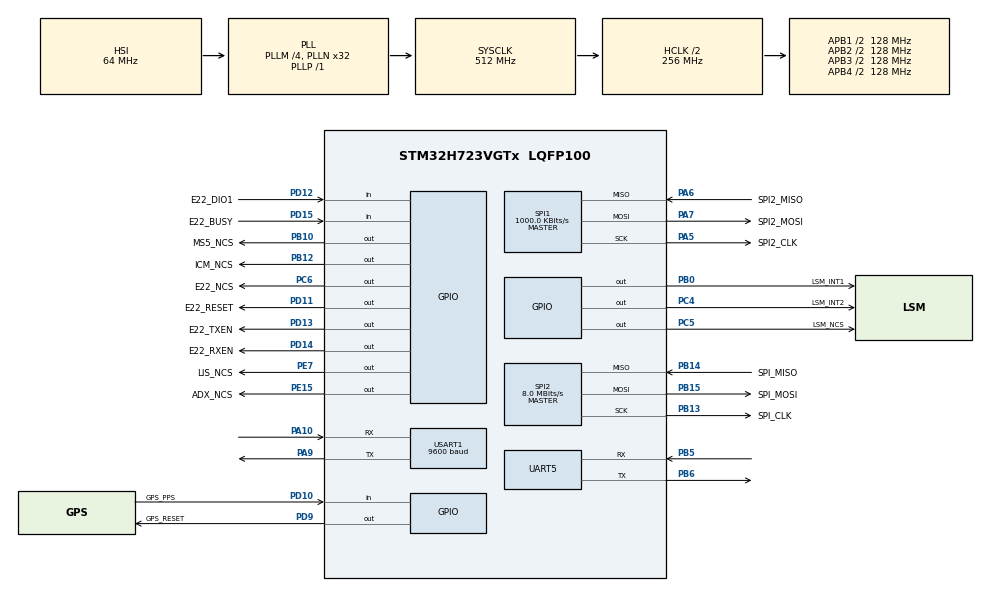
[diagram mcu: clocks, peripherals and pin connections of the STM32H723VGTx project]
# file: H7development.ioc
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CORTEX_M7.default_mode_Activation=1
Mcu.Family=STM32H7
Mcu.Name=STM32H723VGTx
Mcu.Package=LQFP100
NVIC.PriorityGroup=NVIC_PRIORITYGROUP_4
NVIC.TIM2_IRQn=true\:0\:0\:false\:false\:true\:true\:true\:true
NVIC.TIM3_IRQn=true\:0\:0\:false\:false\:true\:true\:true\:true
NVIC.USART1_IRQn=true\:0\:0\:false\:false\:true\:true\:true\:true
PA10.Mode=Asynchronous
PA10.Signal=USART1_RX
PA13(JTMS/SWDIO).Mode=Serial_Wire
PA13(JTMS/SWDIO).Signal=DEBUG_JTMS-SWDIO
PA14(JTCK/SWCLK).Mode=Serial_Wire
PA14(JTCK/SWCLK).Signal=DEBUG_JTCK-SWCLK
PA5.GPIO_Label=SPI2_CLK
PA5.GPIO_PuPd=GPIO_PULLDOWN
PA5.GPIO_Speed=GPIO_SPEED_FREQ_HIGH
PA5.Mode=Full_Duplex_Master
PA5.Signal=SPI1_SCK
PA6.GPIO_Label=SPI2_MISO
PA6.GPIO_Speed=GPIO_SPEED_FREQ_HIGH
PA6.Mode=Full_Duplex_Master
PA6.Signal=SPI1_MISO
PA7.GPIO_Label=SPI2_MOSI
PA7.GPIO_Speed=GPIO_SPEED_FREQ_HIGH
PA7.Mode=Full_Duplex_Master
PA7.Signal=SPI1_MOSI
PA9.Mode=Asynchronous
PA9.Signal=USART1_TX
PB0.GPIO_Label=LSM_INT1
PB0.Signal=GPIO_Output
PB10.GPIO_Label=MS5_NCS
PB10.GPIO_Speed=GPIO_SPEED_FREQ_HIGH
PB10.PinState=GPIO_PIN_SET
PB10.Signal=GPIO_Output
PB12.GPIO_Label=ICM_NCS
PB12.GPIO_Speed=GPIO_SPEED_FREQ_HIGH
PB12.PinState=GPIO_PIN_SET
PB12.Signal=GPIO_Output
PB13.GPIO_Label=SPI_CLK
PB13.GPIO_PuPd=GPIO_PULLDOWN
PB13.GPIO_Speed=GPIO_SPEED_FREQ_HIGH
PB13.Mode=Full_Duplex_Master
PB13.Signal=SPI2_SCK
PB14.GPIO_Label=SPI_MISO
PB14.GPIO_Speed=GPIO_SPEED_FREQ_HIGH
PB14.Mode=Full_Duplex_Master
PB14.Signal=SPI2_MISO
PB15.GPIO_Label=SPI_MOSI
PB15.GPIO_Speed=GPIO_SPEED_FREQ_HIGH
PB15.Mode=Full_Duplex_Master
PB15.Signal=SPI2_MOSI
PB5.Mode=Asynchronous
PB5.Signal=UART5_RX
PB6.Mode=Asynchronous
PB6.Signal=UART5_TX
PC4.GPIO_Label=LSM_INT2
PC4.Signal=GPIO_Output
PC5.GPIO_Label=LSM_NCS
PC5.GPIO_Speed=GPIO_SPEED_FREQ_HIGH
PC5.PinState=GPIO_PIN_SET
PC5.Signal=GPIO_Output
PC6.GPIO_Label=E22_NCS
PC6.GPIO_Speed=GPIO_SPEED_FREQ_HIGH
PC6.PinState=GPIO_PIN_SET
PC6.Signal=GPIO_Output
PD10.GPIO_Label=GPS_PPS
PD10.Signal=GPIO_Input
PD11.GPIO_Label=E22_RESET
PD11.GPIO_Speed=GPIO_SPEED_FREQ_LOW
PD11.PinState=GPIO_PIN_SET
PD11.Signal=GPIO_Output
PD12.GPIO_Label=E22_DIO1
PD12.Signal=GPIO_Input
PD13.GPIO_Label=E22_TXEN
PD13.GPIO_Speed=GPIO_SPEED_FREQ_HIGH
PD13.Signal=GPIO_Output
PD14.GPIO_Label=E22_RXEN
PD14.GPIO_Speed=GPIO_SPEED_FREQ_HIGH
PD14.Signal=GPIO_Output
PD15.GPIO_Label=E22_BUSY
PD15.Signal=GPIO_Input
PD9.GPIO_Label=GPS_RESET
PD9.PinState=GPIO_PIN_SET
PD9.Signal=GPIO_Output
PE15.GPIO_Label=ADX_NCS
PE15.GPIO_Speed=GPIO_SPEED_FREQ_HIGH
PE15.PinState=GPIO_PIN_SET
PE15.Signal=GPIO_Output
PE7.GPIO_Label=LIS_NCS
PE7.GPIO_Speed=GPIO_SPEED_FREQ_HIGH
PE7.PinState=GPIO_PIN_SET
PE7.Signal=GPIO_Output
ProjectManager.HeapSize=0x200
ProjectManager.StackSize=0x400
ProjectManager.TargetToolchain=CMake
RCC.ADCFreq_Value=128000000
RCC.APB1Freq_Value=128000000
RCC.APB2Freq_Value=128000000
RCC.APB3Freq_Value=128000000
RCC.APB4Freq_Value=128000000
RCC.CortexFreq_Value=512000000
RCC.D1PPRE=RCC_APB3_DIV2
RCC.D2PPRE1=RCC_APB1_DIV2
RCC.D2PPRE2=RCC_APB2_DIV2
RCC.D3PPRE=RCC_APB4_DIV2
RCC.DIVM1=4
RCC.DIVN1=32
RCC.DIVN2=128
RCC.DIVN3=128
RCC.DIVP1=1
RCC.DIVQ1=4
RCC.HCLKFreq_Value=256000000
RCC.HPRE=RCC_HCLK_DIV2
RCC.PLLFRACN=0
RCC.SYSCLKFreq_VALUE=512000000
RCC.SYSCLKSource=RCC_SYSCLKSOURCE_PLLCLK
RCC.USBFreq_Value=128000000
SPI1.BaudRatePrescaler=SPI_BAUDRATEPRESCALER_128
SPI1.CalculateBaudRate=1000.0 KBits/s
SPI1.DataSize=SPI_DATASIZE_8BIT
SPI1.Direction=SPI_DIRECTION_2LINES
SPI1.Mode=SPI_MODE_MASTER
SPI1.NSSPMode=SPI_NSS_PULSE_ENABLE
SPI1.VirtualType=VM_MASTER
SPI2.BaudRatePrescaler=SPI_BAUDRATEPRESCALER_16
SPI2.CLKPhase=SPI_PHASE_1EDGE
SPI2.CLKPolarity=SPI_POLARITY_LOW
SPI2.CalculateBaudRate=8.0 MBits/s
SPI2.DataSize=SPI_DATASIZE_8BIT
SPI2.Direction=SPI_DIRECTION_2LINES
SPI2.Mode=SPI_MODE_MASTER
SPI2.VirtualType=VM_MASTER
TIM2.Period=100000-1
TIM2.Prescaler=20-1
TIM3.Period=80-1
TIM3.Prescaler=2500-1
USART1.BaudRate=9600
USART1.VirtualMode-Asynchronous=VM_ASYNC
VP_MEMORYMAP_VS_MEMORYMAP.Mode=CurAppReg
VP_TIM2_VS_ClockSourceINT.Mode=Internal
VP_TIM3_VS_ClockSourceINT.Mode=Internal
board=custom

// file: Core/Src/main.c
/* USER CODE BEGIN Header */
/**
  ******************************************************************************
  * @file           : main.c
  * @brief          : Main program body
  ******************************************************************************
  * @attention
  *
  * Copyright (c) 2025 STMicroelectronics.
  * All rights reserved.
  *
  * This software is licensed under terms that can be found in the LICENSE file
  * in the root directory of this software component.
  * If no LICENSE file comes with this software, it is provided AS-IS.
  *
  ******************************************************************************
  */
/* USER CODE END Header */
#include "main.h"
#include "spi.h"
#include "tim.h"
#include "usart.h"
#include "gpio.h"

/* USER CODE BEGIN Includes */
#include <stdio.h>
#include <stdint.h>
#include <string.h>

#include "lsm6dsv16x_reg.h"   // LSM6DSV16X driver header file
#include "MadgwickAHRS.h"     // Madgwick AHRS algorithm header file
#include "MS5607SPI.h"        // MS5607 pressure sensor driver header file
#include "sx1262.h"           // SX1262 LoRa driver header file
#include "sx1262_hal.h"       // SX1262 hardware abstraction header file
#include "telemetry.h"        // telemetry packet definitions
#include "GPS.h"              // GPS parsing and circular buffer header file

/* USER CODE END Includes */

/* USER CODE BEGIN PD */
#define DEG2RAD 0.017453292519943295f // Pi / 180
#define RAD2DEG 57.29577951308232f    // 180 / Pi

/* ====== EDIT IF NEEDED ====== */
#define SPI_HANDLE   hspi2                 // SPI instance wired to IMU
#define CS_PORT      LSM_NCS_GPIO_Port     // IMU chip-select port
#define CS_PIN       LSM_NCS_Pin           // IMU chip-select pin
/* ============================ */
#define REG_WHO_AM_I 0x0F
#define SPI_READ_BIT 0x80
/* USER CODE END PD */

/* USER CODE BEGIN PV */
volatile uint8_t fusion_tick = 0;

// === Madgwick globals exposed by the library ===
extern volatile float q0, q1, q2, q3;      // quaternion (from Madgwick)
extern volatile float sampleFreq;          // Madgwick internal sample rate
static float gyro_bias_dps[3] = {0};       // boot-time gyro bias estimate

// === IMU variables ===
int16_t accel_raw[3] = {0}, gyro_raw[3] = {0};    // There are 3 axes of data for both the accelerometer and gyroscope, each a 16 bit value
float accel_g[3] = {0}, gyro_dps[3] = {0};
stmdev_ctx_t lsm6dsv16x_ctx;      // Making an instance of the ctx_t struct to use in accessing the lsm6dsv16x
lsm6dsv16x_data_ready_t drdy;     // data-ready flags to see if new data is available

// === Telemetry variables ===
static rocket_telemetry_t telem = {0};   // creating an instance of the telemetry payload
static uint16_t telem_pkt_id = 0;       // Rolling counter

// === GPS variables ===
static GPS_RMC_t last_gps_fix = {0};   // storage for the most recent GPS fix, to be included in telemetry
static GPS_RMC_t new_fix = {0};         // temporary storage for a newly popped GPS fix, to check if it's new before updating last_gps_fix
static GPS_status_t gps_status = {0};   // live acquisition status: fix type, satellites in use, satellites in view

// === Debug display variables ===
// Declared at file scope (static storage, .bss) so they are not re-allocated
// on the stack every loop iteration.  All are recomputed from telem /
// last_gps_fix each iteration and used only in the UART printf block.
//
// IMU — integer engineering units (no floating-point printf required):
//   Accel: raw * 1000 / 2048  → milliG        (print as X.XXX g)
//   Gyro:  raw * 10   / 164   → tenths of dps  (print as X.X dps)
static int32_t  ax_mg,   ay_mg,   az_mg;          // accel in milli-g
static int32_t  gx_tdps, gy_tdps, gz_tdps;        // gyro in tenths-dps
// Baro
static int16_t  temp_cdeg;    // temperature in centi-degrees (copy of telem field)
static int16_t  temp_int;     // integer part of temperature in degrees
static uint16_t temp_frac;    // fractional part (always positive, 2 digits)
// GPS — sign/magnitude split for %lu.%07lu printing without %f
static int32_t  lat_raw, lon_raw;       // absolute value copies for digit extraction
static char     lat_hem, lon_hem;       // hemisphere characters ('N'/'S', 'E'/'W')
static uint32_t gps_t, gps_d;           // utc_time and utc_date copies for unpacking
static uint32_t spd_int, spd_frac;      // speed in m/s split at decimal point
static uint32_t hdg_int, hdg_frac;      // heading in degrees split at decimal point
// GPS altitude and accuracy (integer split to avoid %f)
static int32_t  alt_int;                // altitude integer part in metres (signed)
static uint32_t alt_frac;               // altitude fractional part (2 digits, always positive)
static uint32_t hdop_int, hdop_frac;    // HDOP split at decimal (e.g. 1 and 20 for HDOP 1.20)
// GPS stale counter
static uint32_t prev_gps_utc_time = 0xFFFFFFFFu;  // initialized to invalid time so first fix is always "new"
static uint8_t gps_stale_count = 0;                   // counts how many packets are stale
uint8_t gps_is_stale = 1;                        // flag to indicate if GPS data is stale (initialized to true until we get a fix)

/* USER CODE END PV */

void SystemClock_Config(void);
static void MPU_Config(void);

/* USER CODE BEGIN 0 */
/*
================================
PLATFORM COMMUNICATION FUNCTIONS
================================
*/

int32_t platform_write(void *handle, uint8_t reg, const uint8_t *bufp, uint16_t len)
{
    HAL_GPIO_WritePin(LSM_NCS_GPIO_Port, LSM_NCS_Pin, GPIO_PIN_RESET);

    uint8_t tx_buf[1] = { reg & 0x7F }; // Write operation
    HAL_SPI_Transmit(handle, tx_buf, 1, HAL_MAX_DELAY);
    HAL_SPI_Transmit(handle, (uint8_t*)bufp, len, HAL_MAX_DELAY);

    HAL_GPIO_WritePin(LSM_NCS_GPIO_Port, LSM_NCS_Pin, GPIO_PIN_SET);
    return 0;
}

int32_t platform_read(void *handle, uint8_t reg, uint8_t *bufp, uint16_t len)
{
    HAL_GPIO_WritePin(LSM_NCS_GPIO_Port, LSM_NCS_Pin, GPIO_PIN_RESET);

    uint8_t tx_buf[1] = { reg | 0x80 }; // Read operation
    HAL_SPI_Transmit(handle, tx_buf, 1, HAL_MAX_DELAY);
    HAL_SPI_Receive(handle, bufp, len, HAL_MAX_DELAY);

    HAL_GPIO_WritePin(LSM_NCS_GPIO_Port, LSM_NCS_Pin, GPIO_PIN_SET);
    return 0;
}

// To redirect the printf to output to the UART instead so I can see it in putty
int __io_putchar(int ch)
{
    HAL_UART_Transmit(&huart5, (uint8_t *)&ch, 1, HAL_MAX_DELAY);
    return ch;
}

static void IMU_Init_LSM6DSV16X(stmdev_ctx_t *ctx) {
    uint8_t who = 0;

    // 1) WHO_AM_I sanity
    lsm6dsv16x_device_id_get(ctx, &who);

    // 2) Reset (use one)
    lsm6dsv16x_sw_reset(ctx);
    HAL_Delay(10);

    // 3) Force UI to SPI-only behavior (good hygiene)
    lsm6dsv16x_ui_i2c_i3c_mode_set(ctx, LSM6DSV16X_I2C_I3C_DISABLE);
    lsm6dsv16x_spi_mode_set(ctx, LSM6DSV16X_SPI_4_WIRE);

    // 4) Safe defaults for multi-byte reads + coherence
    lsm6dsv16x_auto_increment_set(ctx, 1);
    lsm6dsv16x_block_data_update_set(ctx, 1);

    // 5) Modes
    lsm6dsv16x_xl_mode_set(ctx, LSM6DSV16X_XL_HIGH_PERFORMANCE_MD);
    lsm6dsv16x_gy_mode_set(ctx, LSM6DSV16X_GY_HIGH_PERFORMANCE_MD);

    // 6) Scales (rocket-safe defaults)
    lsm6dsv16x_xl_full_scale_set(ctx, LSM6DSV16X_16g);
    lsm6dsv16x_gy_full_scale_set(ctx, LSM6DSV16X_2000dps);

    // 7) Filters (optional)
    lsm6dsv16x_filt_xl_lp2_set(ctx, 1);
    lsm6dsv16x_filt_gy_lp1_set(ctx, 1);

    // 8) ODR ON (turns sensors on)
    lsm6dsv16x_xl_data_rate_set(ctx, LSM6DSV16X_ODR_AT_240Hz);
    lsm6dsv16x_gy_data_rate_set(ctx, LSM6DSV16X_ODR_AT_240Hz);

    // Give it a moment to start producing samples
    HAL_Delay(20);
}

/* USER CODE END 0 */

int main(void)
{

  /* MPU Configuration--------------------------------------------------------*/
  MPU_Config();

  /* MCU Configuration--------------------------------------------------------*/

  /* Reset of all peripherals, Initializes the Flash interface and the Systick. */
  HAL_Init();

  /* Configure the system clock */
  SystemClock_Config();

  /* Initialize all configured peripherals */
  MX_GPIO_Init();
  MX_SPI2_Init();
  MX_TIM2_Init();
  MX_TIM3_Init();
  MX_UART5_Init();
  MX_SPI1_Init();
  MX_USART1_UART_Init();
  /* USER CODE BEGIN 2 */

  GPS_init();  // Initialize GPS (sets up UART receive interrupt)

  HAL_TIM_PWM_Start(&htim2, TIM_CHANNEL_2);
  HAL_TIM_Base_Start_IT(&htim3);      // start periodic update IRQ

  // Setup lsm6dsv16x_ctx correctly for this device setup
  lsm6dsv16x_ctx.handle = &hspi2;
  lsm6dsv16x_ctx.mdelay = HAL_Delay;
  lsm6dsv16x_ctx.write_reg = platform_write;
  lsm6dsv16x_ctx.read_reg = platform_read;

  IMU_Init_LSM6DSV16X(&lsm6dsv16x_ctx);

  printf("\r\n=== SX1262 Continuous TX Bring-Up ===\r\n");

  /* --------------------------------------------------------
   * Step 0: Full hardware + chip init (reset, TCXO, cal, DC-DC)
   * This follows section 14.2 pre-requisites.
   * -------------------------------------------------------- */

  SX1262_Init();

  {
    printf("SX1262 err code after RADIO INIT: 0x%04X\r\n", SX1262_GetDeviceErrors());
    uint8_t status = SX1262_GetStatus();
    sx1262_status_t decoded;
    SX1262_DecodeStatus(status, &decoded);
    printf("  → Status: 0x%02X | Cmd Status: 0x%X, Chip Mode: 0x%X\r\n", status, decoded.cmd_status, decoded.chip_mode);
  }

  // Give the radio some settling time
  SX1262_HW_DelayMs(5);

  /* --------------------------------------------------------
   * Step 1-5 (Section 14.2): Configure LoRa radio
   *   1. SetStandby(STDBY_RC)          — done inside ConfigureLora
   *   2. SetPacketType(LoRa)           — done inside ConfigureLora
   *   3. SetRfFrequency(915 MHz)       — done inside ConfigureLora
   *      + CalibrateImage(902-928 MHz) — done inside ConfigureLora
   *   4. SetPaConfig(+22 dBm SX1262)   — done inside ConfigureLora
   *   5. SetTxParams(+22 dBm, 200us)   — done inside ConfigureLora
   *   + SetModulationParams, SetPacketParams, SyncWord, IRQs
   * -------------------------------------------------------- */
  sx1262_lora_mod_t mod = {
      .sf   = SX1262_LORA_SF9,
      .bw   = SX1262_LORA_BW_125K,
      .cr   = SX1262_LORA_CR_4_5,
      .ldro = false,
  };

  sx1262_lora_pkt_t pkt = {
      .preamble_len = 12,
      .fixed_length = false,
      .payload_len  = sizeof(telem),
      .crc_on       = true,
      .invert_iq    = false,
  };

  SX1262_ConfigureLora(915000000UL, &mod, &pkt);
  printf("Radio configured: 915 MHz, SF9, BW125K, CR4/5, +22 dBm\r\n");

  {
    printf("SX1262 err code after CONFIGURE LORA: 0x%04X\r\n", SX1262_GetDeviceErrors());
    uint8_t status = SX1262_GetStatus();
    sx1262_status_t decoded;
    SX1262_DecodeStatus(status, &decoded);
    printf("  → Status: 0x%02X | Cmd Status: 0x%X, Chip Mode: 0x%X\r\n", status, decoded.cmd_status, decoded.chip_mode);
  }

  /* Quick sanity: read back sync word */
  {
      uint8_t sw[2] = {0};
      SX1262_ReadRegister(SX1262_REG_LORA_SYNC_WORD_MSB, sw, 2);
      printf("Sync word readback: 0x%02X%02X (expect 0x1424)\r\n", sw[0], sw[1]);
  }

  /* Check device errors before transmitting */
  {
      uint16_t errs = SX1262_GetDeviceErrors();
      printf("Device errors pre-TX: 0x%04X %s\r\n", errs,
             errs == 0 ? "(clean)" : "(WARNING)");
      if (errs) SX1262_ClearDeviceErrors();
  }

  /* ==================== SELECT RADIO MODE ==================== */

  #define TX_MODE  1  /*0 = CW tone (easiest to see in SDR Sharp)
                        1 = continuous LoRa packets
                        2 = infinite LoRa preamble
                        3 = CAD mode (RX-ONLY)
                        4 = Radio disabled */

  /* ==================== SELECT RADIO MODE ==================== */

  #if TX_MODE == 0
    /* ======== CW TONE MODE ========
    * Emits an unmodulated carrier at 915 MHz.
    * In SDR Sharp you'll see a single spike at 915.000 MHz.
    * Great for verifying the RF path works at all.
    */
    printf("Starting CW tone at 915 MHz...\r\n");
    SX1262_SetStandby(SX1262_STDBY_RC);
    SX1262_SetPacketType(SX1262_PACKET_TYPE_LORA);
    SX1262_SetRfFrequency(915000000UL);
    SX1262_SetPaConfig(0x04, 0x07, 0x00);
    SX1262_SetTxParams(22, SX1262_RAMP_200_US);
    SX1262_SetTxContinuousWave();
    printf("CW active — check SDR Sharp at 915 MHz\r\n");
    /* CW stays on indefinitely — loop does nothing */

  #elif TX_MODE == 1
    /* ======== CONTINUOUS LORA PACKET MODE ========
    * Sends packets in a loop with a short delay between them.
    * In SDR Sharp you'll see periodic chirp bursts around 915 MHz.
    */
    int tx_rc = 0;

    printf("Starting continuous LoRa TX...\r\n");

  #elif TX_MODE == 2
    /* ======== INFINITE PREAMBLE MODE ========
    * Emits a continuous LoRa preamble (repeating upchirps).
    * In SDR Sharp you'll see a steady stream of chirps.
    */
    printf("Starting infinite preamble at 915 MHz...\r\n");
    SX1262_SetTxInfinitePreamble();
    printf("Preamble active — check SDR Sharp at 915 MHz\r\n");

  #elif TX_MODE == 3
    /* ======== CAD MODE (RX-ONLY) ========
    * Continuously performs Channel Activity Detection (CAD) at 915 MHz.
    * In SDR Sharp you'll see periodic short bursts as the radio briefly
      turns on its receiver to listen for activity, then goes back to sleep.
    */
    printf("Starting continuous CAD mode at 915 MHz...\r\n");
    SX1262_SetCad();
    printf("CAD active — check SDR Sharp at 915 MHz\r\n");
    /* CAD stays on indefinitely — loop does nothing */

  #elif TX_MODE == 4
    /* ======== RADIO OFF MODE ======== */
    printf("Turning radio off...\r\n");
    SX1262_SetStandby(SX1262_STDBY_RC);

  #endif

  printf("\r\n=== MS5607 Barometer Init ===\r\n");

  /* Setup MS5607 */
  MS5607StateTypeDef ms5607_status = MS5607_Init(&hspi1, MS5_NCS_GPIO_Port, MS5_NCS_Pin);
  if (ms5607_status == MS5607_STATE_FAILED) {
    printf("Barometer init failed!\r\n");
  } else {
    printf("Barometer initialized successfully\r\n");
  }

  /* Configure oversampling ratio */
  MS5607SetPressureOSR(OSR_4096);
  MS5607SetTemperatureOSR(OSR_4096);

  /* USER CODE END 2 */

  /* Infinite loop */
  /* USER CODE BEGIN WHILE */

  while (1)
  {

    #if TX_MODE == 1

      /* === IMU Code === */
      lsm6dsv16x_acceleration_raw_get(&lsm6dsv16x_ctx, accel_raw);
      lsm6dsv16x_angular_rate_raw_get(&lsm6dsv16x_ctx, gyro_raw);

      /* === Barometer Code ===
      GPS updates at ~1 Hz.  We poll every loop iteration and update
      last_gps_fix only when a new fix arrives; otherwise the previous
      fix is silently reused.  This keeps the loop fully non-blocking.*/
      MS5607Update();

      /* === GPS Code === */
      new_fix = (GPS_RMC_t){0};      // Clear temporary storage
      if (GPS_pop(&new_fix)) last_gps_fix = new_fix;  // Update last_gps_fix only if a new fix was popped
      GPS_GetStatus(&gps_status);    // Snapshot current acquisition state (fix type, sats in use/view)

      /* === RADIO MODE BEHAVIOR === */
      // Telemetry struct packing
      telem.packet_id           = telem_pkt_id;           // assign current packet ID
      telem.timestamp_ms        = HAL_GetTick();          // simple timestamp in milliseconds since boot
      telem.ax                  = accel_raw[0];           // raw accel counts (not converted to g's for simplicity)
      telem.ay                  = accel_raw[1];           // raw accel counts
      telem.az                  = accel_raw[2];           // raw accel counts
      telem.gx                  = gyro_raw[0];            // raw gyro counts (not converted to dps for simplicity)
      telem.gy                  = gyro_raw[1];            // raw gyro counts
      telem.gz                  = gyro_raw[2];                                  // raw gyro counts
      telem.temperature_cdeg    = (int16_t)(MS5607GetTemperatureC()*100);       // baro temp in centi-degrees C (e.g. 2315 = 23.15 °C)
      telem.pressure_pa         = MS5607GetPressurePa();                        // raw pressure in Pa
      telem.gps_lat             = last_gps_fix.lat_e7 / 1e7f;                   // gps converted to float degrees (e.g. 37.7749, which is positive for N latitude)
      telem.gps_lon             = last_gps_fix.lon_e7 / 1e7f;                   // gps converted to float degrees (e.g. -122.4194, which is negative for W longitude)
      telem.gps_utc_time        = last_gps_fix.utc_time;                        // gps utc time in hhmmss format, e.g. 231523 means 23:15:23 UTC
      telem.gps_utc_date        = last_gps_fix.utc_date;                        // gps utc date in ddmmyy format, e.g. 150623 means 15 June 2023
      telem.gps_speed_cms       = last_gps_fix.speed_cms;                       // gps speed in cm/s, e.g. 5144 means 51.44 cm/s
      telem.gps_course_cd       = last_gps_fix.course_cd;                       // gps course over ground in centidegrees, e.g. 12345 means 123.45°
      telem.gps_alt_cm          = gps_status.alt_cm;                            // GPS altitude above MSL in cm from $GNGGA (e.g. 15000 = 150.00 m)
      telem.gps_hdop            = gps_status.hdop_c;                            // HDOP × 100 from $GNGGA (e.g. 120 = 1.20; lower is more accurate)
      telem.gps_sats_in_use     = gps_status.sats_in_use;                       // satellites used in fix
      telem.gps_sats_in_view    = gps_status.sats_in_view;                      // satellites in view
      telem.gps_fix_type        = gps_status.fix_type;                          // fix type from GNGSA field 2: 1=no fix, 2=2D fix, 3=3D fix

      /* === Debug UART output === */
      /* Unpack GPS fields from integers for display — avoids %f and float printf */
      ax_mg   = (int32_t)telem.ax * 1000 / 2048;
      ay_mg   = (int32_t)telem.ay * 1000 / 2048;
      az_mg   = (int32_t)telem.az * 1000 / 2048;
      gx_tdps = (int32_t)telem.gx * 10 / 164;
      gy_tdps = (int32_t)telem.gy * 10 / 164;
      gz_tdps = (int32_t)telem.gz * 10 / 164;

      temp_cdeg = telem.temperature_cdeg;
      temp_int  = temp_cdeg / 100;
      temp_frac = (uint16_t)((temp_cdeg < 0 ? -temp_cdeg : temp_cdeg) % 100);

      lat_raw = last_gps_fix.lat_e7;
      lon_raw = last_gps_fix.lon_e7;
      lat_hem = (lat_raw >= 0) ? 'N' : 'S';
      lon_hem = (lon_raw >= 0) ? 'E' : 'W';
      if (lat_raw < 0) lat_raw = -lat_raw;
      if (lon_raw < 0) lon_raw = -lon_raw;

      gps_t    = last_gps_fix.utc_time;
      gps_d    = last_gps_fix.utc_date;
      spd_int  = last_gps_fix.speed_cms / 100;
      spd_frac = last_gps_fix.speed_cms % 100;
      hdg_int  = last_gps_fix.course_cd / 100;
      hdg_frac = last_gps_fix.course_cd % 100;
      // Altitude: signed integer metres + 2-digit fraction (always positive)
      alt_int  = gps_status.alt_cm / 100;
      alt_frac = (uint32_t)((gps_status.alt_cm < 0 ? -gps_status.alt_cm : gps_status.alt_cm) % 100);
      // HDOP [HorizontaL Dilution of Precision]: It indicates how good the spread of satellites in the sky is — split at decimal for integer printf
      hdop_int  = gps_status.hdop_c / 100;
      hdop_frac = gps_status.hdop_c % 100;

      if (gps_t == prev_gps_utc_time) {
          if (gps_stale_count < 0xFF) gps_stale_count++;  // increment stale count if time hasn't changed, up to max of 255
      } else {
        gps_stale_count = 0;              // reset stale count if we got a new fix
        prev_gps_utc_time = gps_t;        // update previous time to current time for next iteration's comparison
      }
      gps_is_stale = (gps_stale_count >= 3);  // Consider GPS data stale if no new utc time update for 3 consecutive packets

      tx_rc = SX1262_TransmitLora((uint8_t*)&telem, sizeof(telem), 1000);

      /* === Debug UART output ===
       * Layout mirrors the ground station receiver so both terminals look
       * consistent when monitoring a test flight side by side.
       * Border width: 44 chars to match ground station's === line. */
      printf("\r\n==========================================\r\n");
      printf(" PKT #%-5u  T+%lu ms   %u bytes\r\n",
             telem_pkt_id, telem.timestamp_ms, (unsigned)sizeof(telem));
      printf("------------------------------------------\r\n");
      printf(" ACCEL  X=%c%lu.%03lu g  Y=%c%lu.%03lu g  Z=%c%lu.%03lu g\r\n",
             ax_mg < 0 ? '-' : ' ', (unsigned long)(ax_mg < 0 ? -ax_mg : ax_mg) / 1000, (unsigned long)(ax_mg < 0 ? -ax_mg : ax_mg) % 1000,
             ay_mg < 0 ? '-' : ' ', (unsigned long)(ay_mg < 0 ? -ay_mg : ay_mg) / 1000, (unsigned long)(ay_mg < 0 ? -ay_mg : ay_mg) % 1000,
             az_mg < 0 ? '-' : ' ', (unsigned long)(az_mg < 0 ? -az_mg : az_mg) / 1000, (unsigned long)(az_mg < 0 ? -az_mg : az_mg) % 1000);
      printf(" GYRO   X=%c%lu.%01lu dps Y=%c%lu.%01lu dps Z=%c%lu.%01lu dps\r\n",
             gx_tdps < 0 ? '-' : ' ', (unsigned long)(gx_tdps < 0 ? -gx_tdps : gx_tdps) / 10, (unsigned long)(gx_tdps < 0 ? -gx_tdps : gx_tdps) % 10,
             gy_tdps < 0 ? '-' : ' ', (unsigned long)(gy_tdps < 0 ? -gy_tdps : gy_tdps) / 10, (unsigned long)(gy_tdps < 0 ? -gy_tdps : gy_tdps) % 10,
             gz_tdps < 0 ? '-' : ' ', (unsigned long)(gz_tdps < 0 ? -gz_tdps : gz_tdps) / 10, (unsigned long)(gz_tdps < 0 ? -gz_tdps : gz_tdps) % 10);
      printf(" BARO   %d.%02u C    %lu Pa\r\n",
             temp_int, temp_frac, (unsigned long)telem.pressure_pa);
      /* GPS — three display states:
       *   No signal  → sats_in_view == 0        (antenna disconnected / deep indoors)
       *   Searching  → fix_type 1, sats visible  (acquiring — needs clear sky view)
       *   Fix        → fix_type 2 or 3           (2D = altitude unreliable) */
      if (last_gps_fix.valid) {
          const char *fix_str = gps_is_stale        ? "STALE" : (gps_status.fix_type == 3) ? "3D" : "2D";
          printf(" GPS    %lu.%07lu %c   %lu.%07lu %c\r\n",
                 (unsigned long)(lat_raw / 10000000), (unsigned long)(lat_raw % 10000000), lat_hem,
                 (unsigned long)(lon_raw / 10000000), (unsigned long)(lon_raw % 10000000), lon_hem);
          printf("        Alt: %ld.%02lu m MSL   HDOP: %lu.%02lu\r\n", (long)alt_int, alt_frac, hdop_int, hdop_frac);
          printf("        %02lu:%02lu:%02lu UTC   %02lu/%02lu/%02lu\r\n",
                 gps_t/10000, (gps_t%10000)/100, gps_t%100,
                 gps_d/10000, (gps_d%10000)/100, gps_d%100);
          printf("        %lu.%02lu m/s   %lu.%02lu deg\r\n", spd_int, spd_frac, hdg_int, hdg_frac);
          printf("        %s fix | %u in use / %u in view\r\n", fix_str, gps_status.sats_in_use, gps_status.sats_in_view);

      } else if (gps_status.sats_in_view == 0) {
          printf(" GPS    No signal\r\n");

      } else {
          printf(" GPS    Searching | %u in view\r\n", gps_status.sats_in_view);
      }

      if (tx_rc == 0) {
          printf("  TX    OK\r\n");
      } else {
          printf("  TX    FAIL (rc=%d, err=0x%04X)\r\n", tx_rc, SX1262_GetDeviceErrors());
          /* Try to recover */
          SX1262_ClearDeviceErrors();
          SX1262_ClearIrqStatus(SX1262_IRQ_ALL);
          SX1262_SetStandby(SX1262_STDBY_RC);
          HAL_Delay(100);
      }

      printf("==========================================\r\n");

      telem_pkt_id++;   // increment packet ID for next transmission

      HAL_Delay(500);  /* 500ms between packets — easy to see on SDR */

    #endif

  }

    /* USER CODE END WHILE */

}

void SystemClock_Config(void)
{
  RCC_OscInitTypeDef RCC_OscInitStruct = {0};
  RCC_ClkInitTypeDef RCC_ClkInitStruct = {0};

  /** Supply configuration update enable
  */
  HAL_PWREx_ConfigSupply(PWR_LDO_SUPPLY);

  /** Configure the main internal regulator output voltage
  */
  __HAL_PWR_VOLTAGESCALING_CONFIG(PWR_REGULATOR_VOLTAGE_SCALE0);

  while(!__HAL_PWR_GET_FLAG(PWR_FLAG_VOSRDY)) {}

  /** Initializes the RCC Oscillators according to the specified parameters
  * in the RCC_OscInitTypeDef structure.
  */
  RCC_OscInitStruct.OscillatorType = RCC_OSCILLATORTYPE_HSI;
  RCC_OscInitStruct.HSIState = RCC_HSI_DIV1;
  RCC_OscInitStruct.HSICalibrationValue = 64;
  RCC_OscInitStruct.PLL.PLLState = RCC_PLL_ON;
  RCC_OscInitStruct.PLL.PLLSource = RCC_PLLSOURCE_HSI;
  RCC_OscInitStruct.PLL.PLLM = 4;
  RCC_OscInitStruct.PLL.PLLN = 32;
  RCC_OscInitStruct.PLL.PLLP = 1;
  RCC_OscInitStruct.PLL.PLLQ = 4;
  RCC_OscInitStruct.PLL.PLLR = 2;
  RCC_OscInitStruct.PLL.PLLRGE = RCC_PLL1VCIRANGE_3;
  RCC_OscInitStruct.PLL.PLLVCOSEL = RCC_PLL1VCOWIDE;
  RCC_OscInitStruct.PLL.PLLFRACN = 0;
  if (HAL_RCC_OscConfig(&RCC_OscInitStruct) != HAL_OK)
  {
    Error_Handler();
  }

  /** Initializes the CPU, AHB and APB buses clocks
  */
  RCC_ClkInitStruct.ClockType = RCC_CLOCKTYPE_HCLK|RCC_CLOCKTYPE_SYSCLK
                              |RCC_CLOCKTYPE_PCLK1|RCC_CLOCKTYPE_PCLK2
                              |RCC_CLOCKTYPE_D3PCLK1|RCC_CLOCKTYPE_D1PCLK1;
  RCC_ClkInitStruct.SYSCLKSource = RCC_SYSCLKSOURCE_PLLCLK;
  RCC_ClkInitStruct.SYSCLKDivider = RCC_SYSCLK_DIV1;
  RCC_ClkInitStruct.AHBCLKDivider = RCC_HCLK_DIV2;
  RCC_ClkInitStruct.APB3CLKDivider = RCC_APB3_DIV2;
  RCC_ClkInitStruct.APB1CLKDivider = RCC_APB1_DIV2;
  RCC_ClkInitStruct.APB2CLKDivider = RCC_APB2_DIV2;
  RCC_ClkInitStruct.APB4CLKDivider = RCC_APB4_DIV2;

  if (HAL_RCC_ClockConfig(&RCC_ClkInitStruct, FLASH_LATENCY_3) != HAL_OK)
  {
    Error_Handler();
  }
}

 /* MPU Configuration */

void MPU_Config(void)
{
  MPU_Region_InitTypeDef MPU_InitStruct = {0};

  /* Disables the MPU */
  HAL_MPU_Disable();

  /** Initializes and configures the Region and the memory to be protected
  */
  MPU_InitStruct.Enable = MPU_REGION_ENABLE;
  MPU_InitStruct.Number = MPU_REGION_NUMBER0;
  MPU_InitStruct.BaseAddress = 0x0;
  MPU_InitStruct.Size = MPU_REGION_SIZE_4GB;
  MPU_InitStruct.SubRegionDisable = 0x87;
  MPU_InitStruct.TypeExtField = MPU_TEX_LEVEL0;
  MPU_InitStruct.AccessPermission = MPU_REGION_NO_ACCESS;
  MPU_InitStruct.DisableExec = MPU_INSTRUCTION_ACCESS_DISABLE;
  MPU_InitStruct.IsShareable = MPU_ACCESS_SHAREABLE;
  MPU_InitStruct.IsCacheable = MPU_ACCESS_NOT_CACHEABLE;
  MPU_InitStruct.IsBufferable = MPU_ACCESS_NOT_BUFFERABLE;

  HAL_MPU_ConfigRegion(&MPU_InitStruct);
  /* Enables the MPU */
  HAL_MPU_Enable(MPU_PRIVILEGED_DEFAULT);

}

void Error_Handler(void)
{
  __disable_irq();
  while (1)
  {
  }
}
